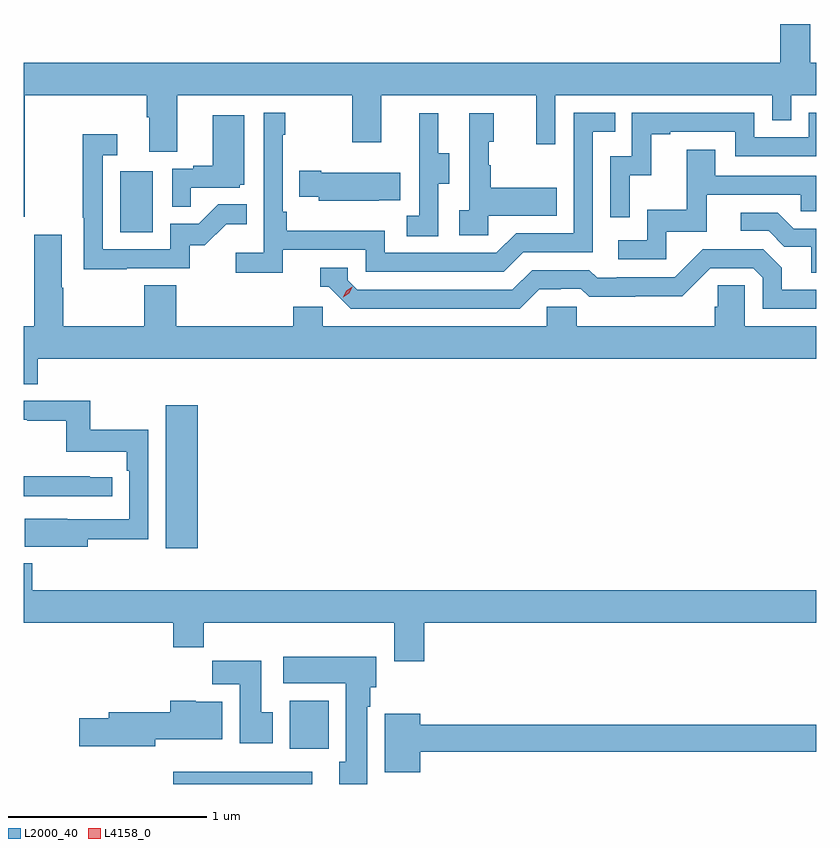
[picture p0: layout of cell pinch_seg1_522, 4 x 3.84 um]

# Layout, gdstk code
import gdstk
lib = gdstk.Library(unit=1e-6, precision=1e-09)
def R(c, l, rs):  # rectangles x0, y0, x1, y1
    for r in rs: c.add(gdstk.rectangle(r[:2], r[2:], *l))
def P(c, l, *ps):  # polygons
    for p in ps: c.add(gdstk.Polygon(p, *l))
L2000_40 = (2000, 40)
L4158_0 = (4158, 0)

pinch_seg1_522 = lib.new_cell('pinch_seg1_522')
R(pinch_seg1_522, L2000_40, [(1077.563,530.937,1078.267,530.998), (1078.151,531.116,1078.348,531.358), (1077.527,532.128,1077.688,532.849), (1077.296,533.724,1077.46,534.031)])
P(pinch_seg1_522, L2000_40, [(1076.815,534.416),(1077.431,534.416),(1077.431,534.304),(1077.443,534.304),(1077.443,534.13),(1077.583,534.13),(1077.583,534.416),(1078.468,534.416),(1078.468,534.177),(1078.615,534.177),(1078.615,534.416),(1079.396,534.416),(1079.396,534.168),(1079.493,534.168),(1079.493,534.416),(1080.588,534.416),(1080.588,534.289),(1080.684,534.289),(1080.684,534.416),(1080.81,534.416),(1080.81,534.58),(1080.781,534.58),(1080.781,534.775),(1080.629,534.775),(1080.629,534.58),(1076.81,534.58),(1076.81,533.802),(1076.815,533.802)],
  [(1078.118,533.634),(1078.536,533.634),(1078.536,533.523),(1079.233,533.523),(1079.332,533.622),(1079.682,533.622),(1079.682,534.231),(1079.795,534.231),(1079.795,534.327),(1079.586,534.327),(1079.586,533.718),(1079.295,533.718),(1079.196,533.619),(1078.632,533.619),(1078.632,533.731),(1078.136,533.731),(1078.136,533.827),(1078.116,533.827),(1078.116,534.215),(1078.129,534.215),(1078.129,534.328),(1078.02,534.328),(1078.02,533.62),(1077.879,533.62),(1077.879,533.518),(1078.118,533.518)],
  [(1079.868,534.011),(1079.978,534.011),(1079.978,534.219),(1080.073,534.219),(1080.073,534.231),(1080.402,534.231),(1080.402,534.108),(1080.81,534.108),(1080.81,534.327),(1080.774,534.327),(1080.774,534.204),(1080.498,534.204),(1080.498,534.327),(1079.88,534.327),(1079.88,534.108),(1079.772,534.108),(1079.772,533.799),(1079.868,533.799)],
  [(1078.902,533.968),(1078.957,533.968),(1078.957,534.123),(1078.903,534.123),(1078.903,534.325),(1078.805,534.325),(1078.805,534.111),(1078.806,534.111),(1078.806,533.807),(1078.743,533.807),(1078.743,533.704),(1078.902,533.704)],
  [(1079.154,533.807),(1079.501,533.807),(1079.501,533.947),(1079.167,533.947),(1079.167,534.062),(1079.157,534.062),(1079.157,534.18),(1079.182,534.18),(1079.182,534.325),(1079.058,534.325),(1079.058,533.834),(1079.007,533.834),(1079.007,533.709),(1079.154,533.709)],
  [(1077.653,533.949),(1077.9,533.949),(1077.9,533.964),(1077.922,533.964),(1077.922,534.313),(1077.764,534.313),(1077.764,534.058),(1077.665,534.058),(1077.665,534.045),(1077.558,534.045),(1077.558,533.851),(1077.653,533.851)],
  [(1077.329,533.541),(1077.648,533.541),(1077.648,533.658),(1077.724,533.658),(1077.831,533.765),(1077.935,533.765),(1077.935,533.864),(1077.791,533.864),(1077.693,533.766),(1077.549,533.766),(1077.549,533.637),(1077.207,533.637),(1077.207,534.111),(1077.28,534.111),(1077.28,534.217),(1077.106,534.217),(1077.106,533.797),(1077.111,533.797),(1077.111,533.536),(1077.329,533.536)],
  [(1080.054,533.727),(1080.259,533.727),(1080.259,533.913),(1080.733,533.913),(1080.733,533.829),(1080.81,533.829),(1080.81,534.009),(1080.301,534.009),(1080.301,534.139),(1080.157,534.139),(1080.157,533.836),(1079.958,533.836),(1079.958,533.682),(1079.811,533.682),(1079.811,533.586),(1080.054,533.586)],
  [(1078.601,533.885),(1078.709,533.885),(1078.709,534.025),(1078.312,534.025),(1078.312,534.033),(1078.201,534.033),(1078.201,533.903),(1078.299,533.903),(1078.299,533.882),(1078.601,533.882)],
  [(1080.81,533.742),(1080.697,533.742),(1080.616,533.823),(1080.429,533.823),(1080.429,533.73),(1080.57,533.73),(1080.65,533.65),(1080.785,533.65),(1080.785,533.518),(1080.81,533.518)],
  [(1080.81,533.248),(1080.45,533.248),(1080.45,533.456),(1080.313,533.456),(1080.313,533.346),(1080.299,533.346),(1080.299,533.248),(1079.601,533.248),(1079.601,533.346),(1079.451,533.346),(1079.451,533.248),(1078.32,533.248),(1078.32,533.346),(1078.169,533.346),(1078.169,533.248),(1077.578,533.248),(1077.578,533.456),(1077.418,533.456),(1077.418,533.248),(1077.009,533.248),(1077.009,533.444),(1077.001,533.444),(1077.001,533.71),(1076.861,533.71),(1076.861,533.248),(1076.81,533.248),(1076.81,532.957),(1076.879,532.957),(1076.879,533.084),(1080.81,533.084)],
  [(1079.413,533.436),(1079.52,533.436),(1079.52,533.439),(1079.623,533.439),(1079.665,533.397),(1079.898,533.397),(1079.898,533.399),(1080.134,533.399),(1080.276,533.541),(1080.492,533.541),(1080.54,533.493),(1080.54,533.337),(1080.81,533.337),(1080.81,533.433),(1080.637,533.433),(1080.637,533.543),(1080.543,533.637),(1080.237,533.637),(1080.096,533.496),(1079.803,533.496),(1079.803,533.493),(1079.704,533.493),(1079.665,533.532),(1079.376,533.532),(1079.277,533.433),(1078.494,533.433),(1078.446,533.481),(1078.446,533.544),(1078.307,533.544),(1078.307,533.448),(1078.35,533.448),(1078.461,533.337),(1079.314,533.337)],
  [(1077.133,532.174),(1077.438,532.174),(1077.438,532.726),(1077.145,532.726),(1077.145,532.872),(1076.81,532.872),(1076.81,532.776),(1076.827,532.776),(1076.827,532.771),(1077.024,532.771),(1077.024,532.616),(1077.329,532.616),(1077.329,532.52),(1077.342,532.52),(1077.342,532.275),(1077.029,532.275),(1077.029,532.276),(1076.815,532.276),(1076.815,532.136),(1077.133,532.136)],
  [(1077.256,532.485),(1077.143,532.485),(1077.143,532.49),(1076.81,532.49),(1076.81,532.389),(1077.256,532.389)],
  [(1078.832,531.752),(1080.81,531.752),(1080.81,531.916),(1076.852,531.916),(1076.852,532.051),(1076.81,532.051),(1076.81,531.752),(1077.563,531.752),(1077.563,531.628),(1077.719,531.628),(1077.719,531.752),(1078.679,531.752),(1078.679,531.558),(1078.832,531.558)],
  [(1078.543,531.326),(1078.558,531.326),(1078.558,531.426),(1078.588,531.426),(1078.588,531.58),(1078.119,531.58),(1078.119,531.446),(1078.436,531.446),(1078.436,531.05),(1078.403,531.05),(1078.403,530.937),(1078.543,530.937)],
  [(1078.066,531.3),(1078.009,531.3),(1078.009,531.559),(1077.76,531.559),(1077.76,531.44),(1077.899,531.44),(1077.899,531.144),(1078.066,531.144)],
  [(1077.474,531.164),(1077.811,531.164),(1077.811,531.352),(1077.678,531.352),(1077.678,531.358),(1077.548,531.358),(1077.548,531.3),(1077.239,531.3),(1077.239,531.27),(1077.09,531.27),(1077.09,531.128),(1077.474,531.128)],
  [(1078.81,531.1),(1080.81,531.1),(1080.81,531.236),(1078.81,531.236),(1078.81,531.292),(1078.631,531.292),(1078.631,530.996),(1078.81,530.996)])
P(pinch_seg1_522, L4158_0, [(1078.422,533.395),(1078.422,533.396),(1078.438,533.428),(1078.469,533.448),(1078.469,533.448),(1078.469,533.448),(1078.453,533.415),(1078.423,533.395)])

lib.write_gds('pinch_seg1_522.gds')
